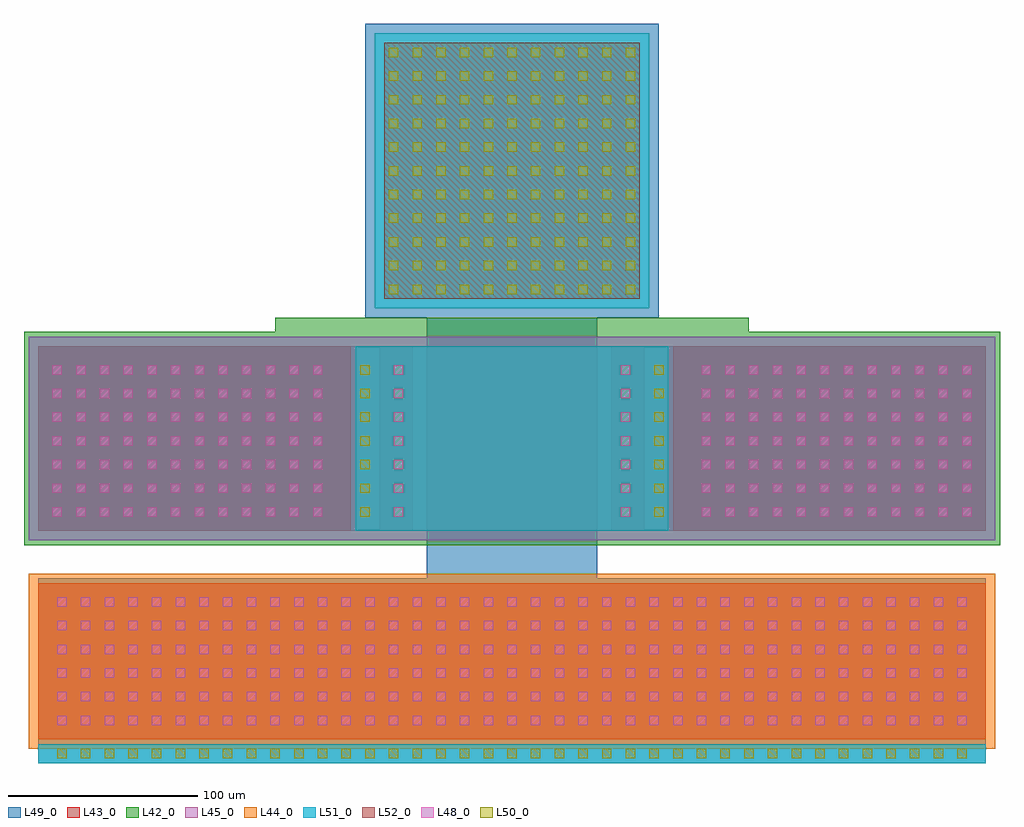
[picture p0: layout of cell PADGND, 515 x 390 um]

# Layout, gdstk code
import gdstk
lib = gdstk.Library(unit=1e-6, precision=1e-09)
def R(c, l, rs):  # rectangles x0, y0, x1, y1
    for r in rs: c.add(gdstk.rectangle(r[:2], r[2:], *l))
def A(c, l, x, y, w, h, nx, ny, dx, dy):  # array of equal rectangles
    R(c, l, [(x+i*dx, y+j*dy, x+i*dx+w, y+j*dy+h) for i in range(nx) for j in range(ny)])
L42_0 = (42, 0)
L43_0 = (43, 0)
L44_0 = (44, 0)
L45_0 = (45, 0)
L48_0 = (48, 0)
L49_0 = (49, 0)
L50_0 = (50, 0)
L51_0 = (51, 0)
L52_0 = (52, 0)

padgnd = lib.new_cell('PADGND')
R(padgnd, L42_0, [(0,115,515,227.5), (132.5,227.5,382.5,235)])
R(padgnd, L43_0, [(7.5,12.5,507.5,95), (7.5,122.5,172.5,220), (187.5,122.5,327.5,220), (342.5,122.5,507.5,220)])
R(padgnd, L44_0, [(2.5,7.5,512.5,100)])
R(padgnd, L45_0, [(2.5,117.5,512.5,225)])
A(padgnd, L48_0, 17.5, 20, 5, 5, 39, 6, 12.5, 12.5)
A(padgnd, L48_0, 15, 130, 5, 5, 12, 7, 12.5, 12.5)
A(padgnd, L48_0, 195, 130, 5, 5, 1, 7, 0, 12.5)
A(padgnd, L48_0, 315, 130, 5, 5, 1, 7, 0, 12.5)
A(padgnd, L48_0, 357.5, 130, 5, 5, 12, 7, 12.5, 12.5)
R(padgnd, L49_0, [(7.5,0,507.5,97.5), (212.5,97.5,302.5,235), (7.5,122.5,205,220), (310,122.5,507.5,220), (180,235,335,390)])
A(padgnd, L50_0, 17.5, 2.5, 5, 5, 39, 1, 12.5, 0)
A(padgnd, L50_0, 177.5, 130, 5, 5, 1, 7, 0, 12.5)
A(padgnd, L50_0, 332.5, 130, 5, 5, 1, 7, 0, 12.5)
A(padgnd, L50_0, 192.5, 247.5, 5, 5, 11, 11, 12.5, 12.5)
R(padgnd, L51_0, [(7.5,0,507.5,10), (175,122.5,340,220), (185,240,330,385)])
R(padgnd, L52_0, [(190,245,325,380)])

lib.write_gds('PADGND.gds')
